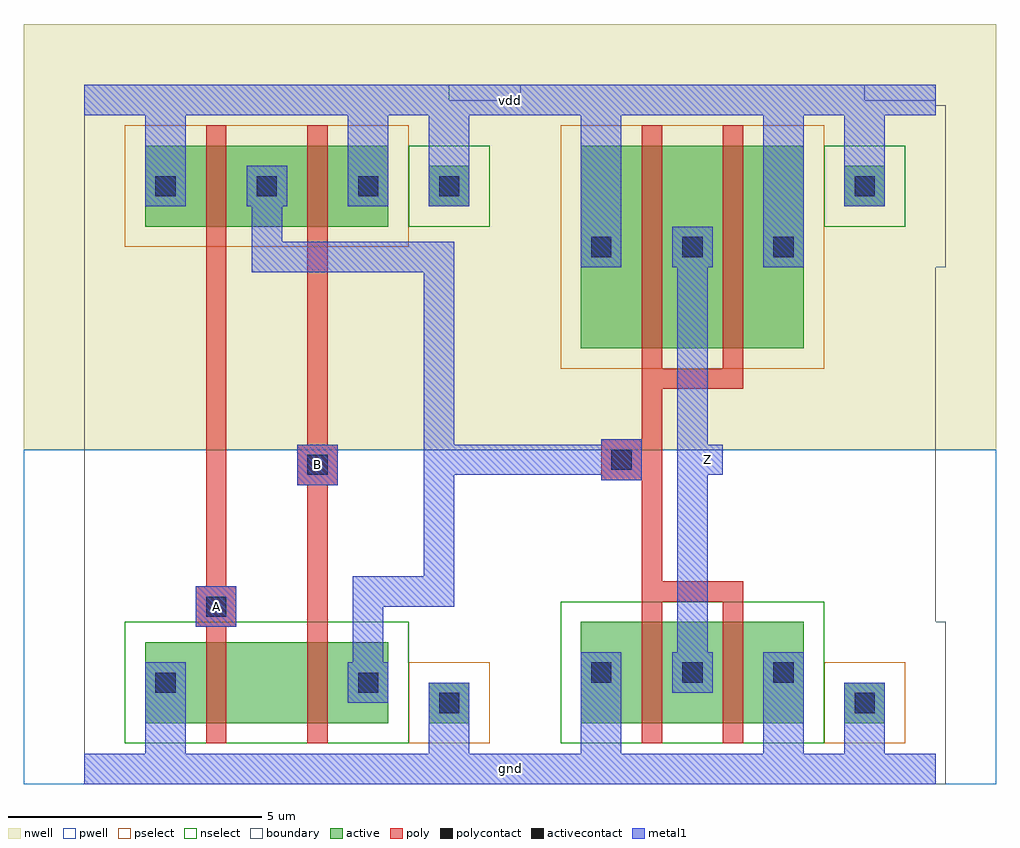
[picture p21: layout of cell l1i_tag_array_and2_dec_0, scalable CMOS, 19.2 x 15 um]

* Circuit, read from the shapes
.subckt l1i_tag_array_and2_dec_0 A B Z gnd vdd
M1 l1i_tag_array_pnand2_0/l1i_tag_array_nmos_m1_w1_600_sm1_dactive_2/D A gnd gnd nfet w=1.6u l=0.4u
M2 l1i_tag_array_pinv_0_1/A B l1i_tag_array_pnand2_0/l1i_tag_array_nmos_m1_w1_600_sm1_dactive_2/D gnd nfet w=1.6u l=0.4u
M3 Z l1i_tag_array_pinv_0_1/A gnd gnd nfet w=2u l=0.4u m=2
M4 l1i_tag_array_pinv_0_1/A A vdd vdd pfet w=1.6u l=0.4u
M5 vdd B l1i_tag_array_pinv_0_1/A vdd pfet w=1.6u l=0.4u
M6 Z l1i_tag_array_pinv_0_1/A vdd vdd pfet w=4u l=0.4u m=2
.ends

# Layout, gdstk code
import gdstk
lib = gdstk.Library(unit=1e-6, precision=1e-09)
def R(c, l, rs):  # rectangles x0, y0, x1, y1
    for r in rs: c.add(gdstk.rectangle(r[:2], r[2:], *l))
def A(c, l, x, y, w, h, nx, ny, dx, dy):  # array of equal rectangles
    R(c, l, [(x+i*dx, y+j*dy, x+i*dx+w, y+j*dy+h) for i in range(nx) for j in range(ny)])
pwell = (41, 0)
nwell = (42, 0)
active = (43, 0)
pselect = (44, 0)
nselect = (45, 0)
poly = (46, 0)
polycontact = (47, 0)
activecontact = (48, 0)
metal1 = (49, 0)
boundary = (63, 0)

l1i_tag_array_contact_11 = lib.new_cell('l1i_tag_array_contact_11')
R(l1i_tag_array_contact_11, nwell, [(-1.2,-1.2,2,2)])
R(l1i_tag_array_contact_11, active, [(0,0,0.8,0.8)])
R(l1i_tag_array_contact_11, pselect, [(-0.4,-0.4,1.2,1.2)])
R(l1i_tag_array_contact_11, activecontact, [(0.2,0.2,0.6,0.6)])
R(l1i_tag_array_contact_11, metal1, [(0,0,0.8,0.8)])
R(l1i_tag_array_contact_11, boundary, [(-1.2,-1.2,2,2)])

l1i_tag_array_pmos_m1_w1 = lib.new_cell('l1i_tag_array_pmos_m1_w1_600_sm1_dm1')
R(l1i_tag_array_pmos_m1_w1, nwell, [(-1.2,-1.2,4,2.8)])
R(l1i_tag_array_pmos_m1_w1, active, [(0,0,2.8,1.6)])
R(l1i_tag_array_pmos_m1_w1, pselect, [(-0.4,-0.4,3.2,2)])
R(l1i_tag_array_pmos_m1_w1, poly, [(1.2,-0.4,1.6,2), (1.2,-0.4,1.6,2)])
R(l1i_tag_array_pmos_m1_w1, metal1, [(0,0.4,0.8,1.2), (2,0.4,2.8,1.2)])
R(l1i_tag_array_pmos_m1_w1, boundary, [(-1.2,-1.2,4,2.8)])
l1i_tag_array_pmos_m1_w1.add(gdstk.Reference(l1i_tag_array_contact_11, (0,0.4)))
l1i_tag_array_pmos_m1_w1.add(gdstk.Reference(l1i_tag_array_contact_11, (2,0.4)))
l1i_tag_array_pmos_m1_w1.add(gdstk.Label('G', (1.4,0.8), layer=46, texttype=0))
l1i_tag_array_pmos_m1_w1.add(gdstk.Label('S', (0.4,0.8), layer=49, texttype=0))
l1i_tag_array_pmos_m1_w1.add(gdstk.Label('D', (2.4,0.8), layer=49, texttype=0))

l1i_tag_array_contact_10 = lib.new_cell('l1i_tag_array_contact_10')
R(l1i_tag_array_contact_10, pwell, [(-1.2,-1.2,2,2)])
R(l1i_tag_array_contact_10, active, [(0,0,0.8,0.8)])
R(l1i_tag_array_contact_10, nselect, [(-0.4,-0.4,1.2,1.2)])
R(l1i_tag_array_contact_10, activecontact, [(0.2,0.2,0.6,0.6)])
R(l1i_tag_array_contact_10, metal1, [(0,0,0.8,0.8)])
R(l1i_tag_array_contact_10, boundary, [(-1.2,-1.2,2,2)])

l1i_tag_array_nmos_m1_w1 = lib.new_cell('l1i_tag_array_nmos_m1_w1_600_sm1_dactive')
R(l1i_tag_array_nmos_m1_w1, pwell, [(-1.2,-1.2,4,2.8)])
R(l1i_tag_array_nmos_m1_w1, active, [(0,0,2.8,1.6), (2.1,0.5,2.7,1.1)])
R(l1i_tag_array_nmos_m1_w1, nselect, [(-0.4,-0.4,3.2,2)])
R(l1i_tag_array_nmos_m1_w1, poly, [(1.2,-0.4,1.6,2), (1.2,-0.4,1.6,2)])
R(l1i_tag_array_nmos_m1_w1, metal1, [(0,0.4,0.8,1.2)])
R(l1i_tag_array_nmos_m1_w1, boundary, [(-1.2,-1.2,4,2.8)])
l1i_tag_array_nmos_m1_w1.add(gdstk.Reference(l1i_tag_array_contact_10, (0,0.4)))
l1i_tag_array_nmos_m1_w1.add(gdstk.Label('G', (1.4,0.8), layer=46, texttype=0))
l1i_tag_array_nmos_m1_w1.add(gdstk.Label('S', (0.4,0.8), layer=49, texttype=0))
l1i_tag_array_nmos_m1_w1.add(gdstk.Label('D', (2.4,0.8), layer=43, texttype=0))

c_l1i_tag_array_nmos_m1_w1 = lib.new_cell('l1i_tag_array_nmos_m1_w1_600_sactive_dm1')
R(c_l1i_tag_array_nmos_m1_w1, pwell, [(-1.2,-1.2,4,2.8)])
R(c_l1i_tag_array_nmos_m1_w1, active, [(0,0,2.8,1.6), (0.1,0.5,0.7,1.1)])
R(c_l1i_tag_array_nmos_m1_w1, nselect, [(-0.4,-0.4,3.2,2)])
R(c_l1i_tag_array_nmos_m1_w1, poly, [(1.2,-0.4,1.6,2), (1.2,-0.4,1.6,2)])
R(c_l1i_tag_array_nmos_m1_w1, metal1, [(2,0.4,2.8,1.2)])
R(c_l1i_tag_array_nmos_m1_w1, boundary, [(-1.2,-1.2,4,2.8)])
c_l1i_tag_array_nmos_m1_w1.add(gdstk.Reference(l1i_tag_array_contact_10, (2,0.4)))
c_l1i_tag_array_nmos_m1_w1.add(gdstk.Label('G', (1.4,0.8), layer=46, texttype=0))
c_l1i_tag_array_nmos_m1_w1.add(gdstk.Label('S', (0.4,0.8), layer=43, texttype=0))
c_l1i_tag_array_nmos_m1_w1.add(gdstk.Label('D', (2.4,0.8), layer=49, texttype=0))

l1i_tag_array_contact_12 = lib.new_cell('l1i_tag_array_contact_12')
R(l1i_tag_array_contact_12, nwell, [(-1.2,-1.2,2,2)])
R(l1i_tag_array_contact_12, active, [(0,0,0.8,0.8)])
R(l1i_tag_array_contact_12, nselect, [(-0.4,-0.4,1.2,1.2)])
R(l1i_tag_array_contact_12, activecontact, [(0.2,0.2,0.6,0.6)])
R(l1i_tag_array_contact_12, metal1, [(0,0,0.8,0.8)])
R(l1i_tag_array_contact_12, boundary, [(-1.2,-1.2,2,2)])

l1i_tag_array_contact_13 = lib.new_cell('l1i_tag_array_contact_13')
R(l1i_tag_array_contact_13, pwell, [(-1.2,-1.2,2,2)])
R(l1i_tag_array_contact_13, active, [(0,0,0.8,0.8)])
R(l1i_tag_array_contact_13, pselect, [(-0.4,-0.4,1.2,1.2)])
R(l1i_tag_array_contact_13, activecontact, [(0.2,0.2,0.6,0.6)])
R(l1i_tag_array_contact_13, metal1, [(0,0,0.8,0.8)])
R(l1i_tag_array_contact_13, boundary, [(-1.2,-1.2,2,2)])

l1i_tag_array_contact_14 = lib.new_cell('l1i_tag_array_contact_14')
R(l1i_tag_array_contact_14, poly, [(0,0,0.8,0.8)])
R(l1i_tag_array_contact_14, polycontact, [(0.2,0.2,0.6,0.6)])
R(l1i_tag_array_contact_14, metal1, [(0,0,0.8,0.8)])
R(l1i_tag_array_contact_14, boundary, [(0,0,0.8,0.8)])

l1i_tag_array_pnand2 = lib.new_cell('l1i_tag_array_pnand2')
R(l1i_tag_array_pnand2, pwell, [(-1.2,-0.3,9.8,6.3)])
R(l1i_tag_array_pnand2, nwell, [(-1.2,6.3,9.8,14.7)])
R(l1i_tag_array_pnand2, poly, [(2.4,2.8,2.6,3.6), (2.4,2.9,2.8,10.3), (4.4,2.9,4.8,10.3), (4.4,5.6,4.6,6.4)])
R(l1i_tag_array_pnand2, metal1, [(0,-0.3,8.6,0.3), (1.2,-0.3,2,1.3), (6.8,0,7.6,1.3), (5.3,2.1,5.9,3.5), (2.2,2.8,3,3.6), (5.3,3.2,5.9,3.8), (5.6,3.2,7,3.8), (6.7,3.2,7.3,3.8), (6.7,3.5,7.3,10.1), (4.2,5.6,5,6.4), (3.3,9.8,3.9,10.4), (3.6,9.8,7,10.4), (6.7,9.8,7.3,10.4), (3.3,10.1,3.9,11.1), (1.2,11.1,2,13.5), (5.2,11.1,6,13.5), (6.8,11.5,7.6,13.2), (0,12.9,8.6,13.5)])
R(l1i_tag_array_pnand2, boundary, [(0,0,8.6,13.2), (0,0,8.6,13.2)])
l1i_tag_array_pnand2.add(gdstk.Reference(l1i_tag_array_pmos_m1_w1, (1.2,10.7)))
l1i_tag_array_pnand2.add(gdstk.Reference(l1i_tag_array_pmos_m1_w1, (3.2,10.7)))
l1i_tag_array_pnand2.add(gdstk.Reference(l1i_tag_array_nmos_m1_w1, (1.2,0.9)))
l1i_tag_array_pnand2.add(gdstk.Reference(c_l1i_tag_array_nmos_m1_w1, (3.2,0.9)))
l1i_tag_array_pnand2.add(gdstk.Reference(l1i_tag_array_contact_12, (6.8,11.1)))
l1i_tag_array_pnand2.add(gdstk.Reference(l1i_tag_array_contact_13, (6.8,0.9)))
l1i_tag_array_pnand2.add(gdstk.Reference(l1i_tag_array_contact_14, (2.2,2.8)))
l1i_tag_array_pnand2.add(gdstk.Reference(l1i_tag_array_contact_14, (4.2,5.6)))
l1i_tag_array_pnand2.add(gdstk.Label('Z', (7,10.1), layer=49, texttype=0))
l1i_tag_array_pnand2.add(gdstk.Label('gnd', (4.3,0), layer=49, texttype=0))
l1i_tag_array_pnand2.add(gdstk.Label('vdd', (4.3,13.2), layer=49, texttype=0))
l1i_tag_array_pnand2.add(gdstk.Label('A', (2.6,3.2), layer=49, texttype=0))
l1i_tag_array_pnand2.add(gdstk.Label('B', (4.6,6), layer=49, texttype=0))

l1i_tag_array_pmos_m2_w4 = lib.new_cell('l1i_tag_array_pmos_m2_w4_000_sm1_dm1_da_p')
R(l1i_tag_array_pmos_m2_w4, nwell, [(-1.2,-1.2,5.6,5.2)])
R(l1i_tag_array_pmos_m2_w4, active, [(0,0,4.4,4)])
R(l1i_tag_array_pmos_m2_w4, pselect, [(-0.4,-0.4,4.8,4.4)])
R(l1i_tag_array_pmos_m2_w4, poly, [(1.2,-0.8,3.2,-0.4), (1.2,-0.4,1.6,4.4), (2.8,-0.4,3.2,4.4)])
A(l1i_tag_array_pmos_m2_w4, metal1, 0, 1.6, 0.8, 0.8, 3, 1, 1.8, 0)
R(l1i_tag_array_pmos_m2_w4, boundary, [(-1.2,-1.2,5.6,5.2)])
l1i_tag_array_pmos_m2_w4.add(gdstk.Reference(l1i_tag_array_contact_11, (0,1.6)))
l1i_tag_array_pmos_m2_w4.add(gdstk.Reference(l1i_tag_array_contact_11, (1.8,1.6)))
l1i_tag_array_pmos_m2_w4.add(gdstk.Reference(l1i_tag_array_contact_11, (3.6,1.6)))
l1i_tag_array_pmos_m2_w4.add(gdstk.Label('G', (2.2,-0.6), layer=46, texttype=0))
l1i_tag_array_pmos_m2_w4.add(gdstk.Label('S', (0.4,2), layer=49, texttype=0))
l1i_tag_array_pmos_m2_w4.add(gdstk.Label('S', (4,2), layer=49, texttype=0))
l1i_tag_array_pmos_m2_w4.add(gdstk.Label('D', (2.2,2), layer=49, texttype=0))

l1i_tag_array_nmos_m2_w2 = lib.new_cell('l1i_tag_array_nmos_m2_w2_000_sm1_dm1_da_p')
R(l1i_tag_array_nmos_m2_w2, pwell, [(-1.2,-1.2,5.6,3.2)])
R(l1i_tag_array_nmos_m2_w2, active, [(0,0,4.4,2)])
R(l1i_tag_array_nmos_m2_w2, nselect, [(-0.4,-0.4,4.8,2.4)])
R(l1i_tag_array_nmos_m2_w2, poly, [(1.2,-0.4,1.6,2.4), (2.8,-0.4,3.2,2.4), (1.2,2.4,3.2,2.8)])
A(l1i_tag_array_nmos_m2_w2, metal1, 0, 0.6, 0.8, 0.8, 3, 1, 1.8, 0)
R(l1i_tag_array_nmos_m2_w2, boundary, [(-1.2,-1.2,5.6,3.2)])
l1i_tag_array_nmos_m2_w2.add(gdstk.Reference(l1i_tag_array_contact_10, (0,0.6)))
l1i_tag_array_nmos_m2_w2.add(gdstk.Reference(l1i_tag_array_contact_10, (1.8,0.6)))
l1i_tag_array_nmos_m2_w2.add(gdstk.Reference(l1i_tag_array_contact_10, (3.6,0.6)))
l1i_tag_array_nmos_m2_w2.add(gdstk.Label('G', (2.2,2.6), layer=46, texttype=0))
l1i_tag_array_nmos_m2_w2.add(gdstk.Label('S', (0.4,1), layer=49, texttype=0))
l1i_tag_array_nmos_m2_w2.add(gdstk.Label('S', (4,1), layer=49, texttype=0))
l1i_tag_array_nmos_m2_w2.add(gdstk.Label('D', (2.2,1), layer=49, texttype=0))

l1i_tag_array_pinv_0 = lib.new_cell('l1i_tag_array_pinv_0')
R(l1i_tag_array_pinv_0, pwell, [(-1.2,-0.3,9.4,6.3)])
R(l1i_tag_array_pinv_0, nwell, [(-1.2,6.3,9.4,14.7)])
R(l1i_tag_array_pinv_0, poly, [(2.4,3.7,2.8,7.5), (2,5.7,2.4,6.5)])
R(l1i_tag_array_pinv_0, metal1, [(0,-0.3,8.2,0.3), (1.2,-0.3,2,1.5), (4.8,-0.3,5.6,1.5), (6.4,0,7.2,1.3), (3.1,1.5,3.7,10.7), (1.6,5.7,2.4,6.5), (3.4,5.8,4,6.4), (1.2,9.9,2,13.5), (4.8,9.9,5.6,13.5), (6.4,11.5,7.2,13.2), (0,12.9,8.2,13.5)])
R(l1i_tag_array_pinv_0, boundary, [(0,0,8.2,13.2), (0,0,8.2,13.2)])
l1i_tag_array_pinv_0.add(gdstk.Reference(l1i_tag_array_pmos_m2_w4, (1.2,8.3)))
l1i_tag_array_pinv_0.add(gdstk.Reference(l1i_tag_array_nmos_m2_w2, (1.2,0.9)))
l1i_tag_array_pinv_0.add(gdstk.Reference(l1i_tag_array_contact_12, (6.4,11.1)))
l1i_tag_array_pinv_0.add(gdstk.Reference(l1i_tag_array_contact_13, (6.4,0.9)))
l1i_tag_array_pinv_0.add(gdstk.Reference(l1i_tag_array_contact_14, (1.6,5.7)))
l1i_tag_array_pinv_0.add(gdstk.Label('A', (2,6.1), layer=49, texttype=0))
l1i_tag_array_pinv_0.add(gdstk.Label('Z', (3.7,6.1), layer=49, texttype=0))
l1i_tag_array_pinv_0.add(gdstk.Label('gnd', (4.1,0), layer=49, texttype=0))
l1i_tag_array_pinv_0.add(gdstk.Label('vdd', (4.1,13.2), layer=49, texttype=0))

l1i_tag_array_and2_dec_0 = lib.new_cell('l1i_tag_array_and2_dec_0')
R(l1i_tag_array_and2_dec_0, metal1, [(0,-0.3,16.8,0.3), (2.2,2.8,3,3.6), (4.2,5.6,5,6.4), (6.7,5.8,7.3,6.4), (7,5.8,10.6,6.4), (12,5.8,12.6,6.4), (6.7,6.1,7.3,10.1), (0,12.9,16.8,13.5)])
R(l1i_tag_array_and2_dec_0, boundary, [(0,0,16.8,13.2)])
l1i_tag_array_and2_dec_0.add(gdstk.Reference(l1i_tag_array_pnand2, (0,0)))
l1i_tag_array_and2_dec_0.add(gdstk.Reference(l1i_tag_array_pinv_0, (8.6,0)))
l1i_tag_array_and2_dec_0.add(gdstk.Label('Z', (12.3,6.1), layer=49, texttype=0))
l1i_tag_array_and2_dec_0.add(gdstk.Label('A', (2.6,3.2), layer=49, texttype=0))
l1i_tag_array_and2_dec_0.add(gdstk.Label('B', (4.6,6), layer=49, texttype=0))
l1i_tag_array_and2_dec_0.add(gdstk.Label('gnd', (8.4,0), layer=49, texttype=0))
l1i_tag_array_and2_dec_0.add(gdstk.Label('vdd', (8.4,13.2), layer=49, texttype=0))

lib.write_gds('l1i_tag_array_and2_dec_0.gds')
